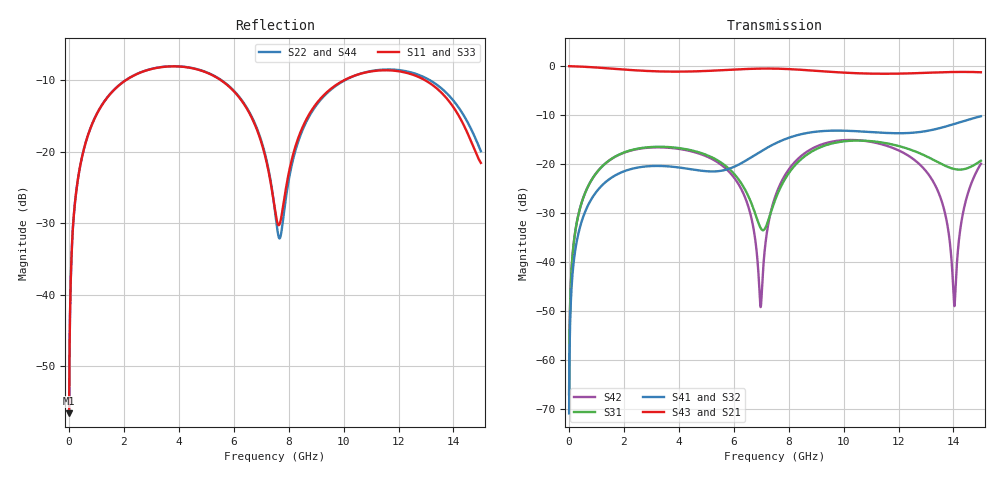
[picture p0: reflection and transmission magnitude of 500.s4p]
! Created with skrf 1.8.0 (http://scikit-rf.org).
# GHz S RI R 50.0
!freq ReS11 ImS11 ReS12 ImS12 ReS13 ImS13
! ReS14 ImS14
! ReS21 ImS21 ReS22 ImS22 ReS23 ImS23
! ReS24 ImS24
! ReS31 ImS31 ReS32 ImS32 ReS33 ImS33
! ReS34 ImS34
! ReS41 ImS41 ReS42 ImS42 ReS43 ImS43
! ReS44 ImS44
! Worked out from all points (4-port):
!   2499 points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, 5 MHz to 15 GHz, reference 50 ohm
!   strongest paths, dB at 5 MHz, 3.476 GHz, 7.19 GHz, 11.1 GHz, 15 GHz:
!     S43: 0.0, -1.1, -0.5, -1.5, -1.3
!     S21: 0.0, -1.1, -0.5, -1.5, -1.3
!     S41: -70.8, -20.4, -16.7, -13.5, -10.2
!     S32: -70.8, -20.4, -16.7, -13.5, -10.2
!     S31: -66.9, -16.5, -32.5, -15.4, -19.3
!     S42: -66.9, -16.6, -34.6, -15.6, -19.9
!   lowest |S11| = -56.6 dB at 5 MHz (marker M1), VSWR 1.00, Z = 50.1 + j0.0901 ohm
!   |S11| at or under -10 dB: start of sweep to 2.058 GHz; 5.543 GHz to 10.01 GHz (4.464 GHz wide, 57.4 % of centre); 12.98 GHz to end of sweep
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0.005  0.00118 0.000899  0.9988 -0.0023  5.73e-05 0.000447  -5.58e-05 -0.000282
       0.9988 -0.0023  0.00118 0.000899  -5.58e-05 -0.000282  5.72e-05 0.000447
       5.73e-05 0.000447  -5.58e-05 -0.000282  0.00118 0.000899  0.9988 -0.0023
       -5.58e-05 -0.000282  5.72e-05 0.000447  0.9988 -0.0023  0.00118 0.000899
0.4126719  0.0209 0.0779  0.9712 -0.1882  0.00955 0.0352  -0.00787 -0.0221
           0.9712 -0.1882  0.0209 0.0779  -0.00788 -0.0221  0.00934 0.0353
           0.00955 0.0352  -0.00788 -0.0221  0.0209 0.0779  0.9712 -0.1882
           -0.00787 -0.0221  0.00934 0.0353  0.9712 -0.1882  0.0209 0.0779
2.125886  0.2648 0.184  0.5614 -0.7255  0.1224 0.0579  -0.0866 -0.00815
          0.5614 -0.7255  0.2657 0.1835  -0.0866 -0.00811  0.1194 0.0618
          0.1224 0.0579  -0.0866 -0.00811  0.2648 0.184  0.5614 -0.7254
          -0.0866 -0.00815  0.1194 0.0618  0.5614 -0.7254  0.2657 0.1835
6.977907  0.059 -0.1056  -0.8857 -0.3249  -0.0202 -0.00968  -0.0426 0.1276
          -0.8857 -0.3249  0.0549 -0.111  -0.0417 0.1279  0.00348 0.000282
          -0.0202 -0.00968  -0.0417 0.1279  0.0602 -0.1047  -0.8857 -0.325
          -0.0426 0.1276  0.00348 0.000282  -0.8857 -0.325  0.0535 -0.111
7.628178  0.0306 -0.00303  -0.9391 -0.0601  -0.00896 0.0514  -0.00698 0.1684
          -0.9391 -0.0601  0.0245 -0.00786  -0.00585 0.1683  0.0153 0.0549
          -0.00896 0.0514  -0.00585 0.1683  0.0322 -0.00267  -0.9391 -0.0603
          -0.00698 0.1684  0.0153 0.0549  -0.9391 -0.0603  0.0228 -0.00753
14.0371  0.1485 -0.1344  0.6764 0.5487  -0.0721 -0.0524  0.158 -0.2032
         0.6764 0.5487  0.1577 -0.1586  0.1564 -0.2043  -0.00353 -0.000492
         -0.0721 -0.0524  0.1564 -0.2043  0.1444 -0.1349  0.6764 0.5495
         0.158 -0.2032  -0.00353 -0.000492  0.6764 0.5495  0.1593 -0.1542
15  0.0793 -0.0267  0.8354 0.2262  -0.083 0.0699  0.0796 -0.2979
    0.8354 0.2262  0.0753 -0.0675  0.0774 -0.2986  0.023 0.0985
    -0.083 0.0699  0.0774 -0.2986  0.0756 -0.026  0.8354 0.2271
    0.0796 -0.2979  0.023 0.0985  0.8354 0.2271  0.078 -0.0642
